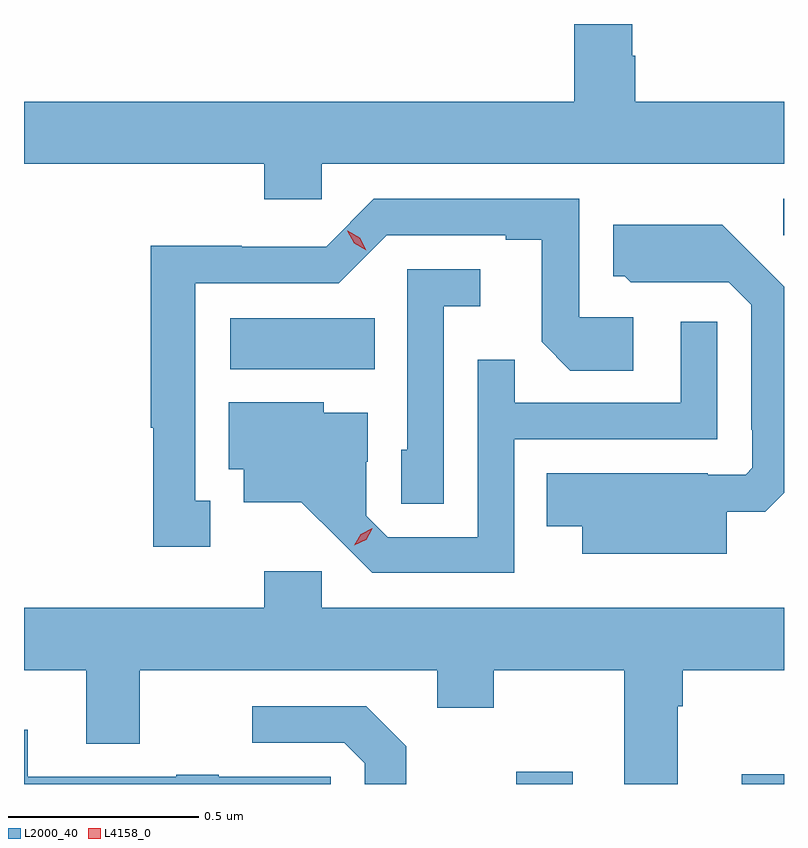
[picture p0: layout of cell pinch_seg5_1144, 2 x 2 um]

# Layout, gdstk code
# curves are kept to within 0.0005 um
import gdstk
lib = gdstk.Library(unit=1e-6, precision=1e-09)
def R(c, l, rs):  # rectangles x0, y0, x1, y1
    for r in rs: c.add(gdstk.rectangle(r[:2], r[2:], *l))
def P(c, l, *ps):  # polygons
    for p in ps: c.add(gdstk.Polygon(p, *l))
L2000_40 = (2000, 40)
L4158_0 = (4158, 0)

pinch_seg5_1144 = lib.new_cell('pinch_seg5_1144')
R(pinch_seg5_1144, L2000_40, [(789.921,841.808,790.069,841.84), (790.514,841.808,790.625,841.834), (789.168,842.9,789.548,843.034), (790.623,843.252,790.625,843.348)])
P(pinch_seg5_1144, L2000_40, [(789.408,843.44),(790.625,843.44),(790.625,843.604),(790.233,843.604),(790.233,843.725),(790.225,843.725),(790.225,843.808),(790.073,843.808),(790.073,843.604),(788.625,843.604),(788.625,843.44),(789.257,843.44),(789.257,843.347),(789.408,843.347)],
  [(789.115,842.553),(789.076,842.553),(789.076,843.126),(789.453,843.126),(789.579,843.252),(789.893,843.252),(789.893,843.24),(789.987,843.24),(789.987,842.972),(790.063,842.896),(790.228,842.896),(790.228,843.036),(790.086,843.036),(790.086,843.348),(789.546,843.348),(789.42,843.222),(789.198,843.222),(789.198,843.224),(788.958,843.224),(788.958,842.745),(788.965,842.745),(788.965,842.433),(789.115,842.433)],
  [(790.474,842.525),(790.576,842.525),(790.625,842.574),(790.625,843.116),(790.463,843.28),(790.175,843.28),(790.175,843.144),(790.206,843.144),(790.222,843.128),(790.356,843.128),(790.356,843.129),(790.479,843.129),(790.539,843.069),(790.539,842.74),(790.542,842.74),(790.542,842.64),(790.524,842.622),(790.424,842.622),(790.424,842.626),(790,842.626),(790,842.486),(790.094,842.486),(790.094,842.414),(790.474,842.414)],
  [(789.729,843.065),(789.826,843.065),(789.826,843.162),(789.633,843.162),(789.633,842.688),(789.618,842.688),(789.618,842.545),(789.729,842.545)],
  [(789.915,842.715),(790.449,842.715),(790.449,843.025),(790.353,843.025),(790.353,842.811),(789.917,842.811),(789.917,842.924),(789.819,842.924),(789.819,842.457),(789.582,842.457),(789.525,842.514),(789.525,842.656),(789.529,842.656),(789.529,842.785),(789.414,842.785),(789.414,842.812),(789.164,842.812),(789.164,842.636),(789.203,842.636),(789.203,842.549),(789.355,842.549),(789.542,842.364),(789.915,842.364)],
  [(790.345,842.012),(790.358,842.012),(790.358,842.108),(790.625,842.108),(790.625,842.272),(789.408,842.272),(789.408,842.368),(789.257,842.368),(789.257,842.272),(788.625,842.272),(788.625,842.108),(788.789,842.108),(788.789,841.914),(788.929,841.914),(788.929,842.108),(789.713,842.108),(789.713,842.009),(789.861,842.009),(789.861,842.108),(790.205,842.108),(790.205,841.808),(790.345,841.808)],
  [(789.631,841.907),(789.525,842.013),(789.225,842.013),(789.225,841.917),(789.468,841.917),(789.522,841.863),(789.522,841.808),(789.631,841.808)],
  [(789.432,841.827),(789.137,841.827),(789.137,841.832),(789.025,841.832),(789.025,841.827),(788.635,841.827),(788.635,841.951),(788.625,841.951),(788.625,841.808),(789.432,841.808)])
P(pinch_seg5_1144, L4158_0, [(789.494,842.436),(789.494,842.436),(789.511,842.465),(789.542,842.481),(789.542,842.481),(789.542,842.48),(789.525,842.451),(789.494,842.436)],
  [(789.525,843.212),(789.494,843.231),(789.476,843.264),(789.476,843.264),(789.477,843.264),(789.508,843.245),(789.526,843.212),(789.526,843.212)])

lib.write_gds('pinch_seg5_1144.gds')
